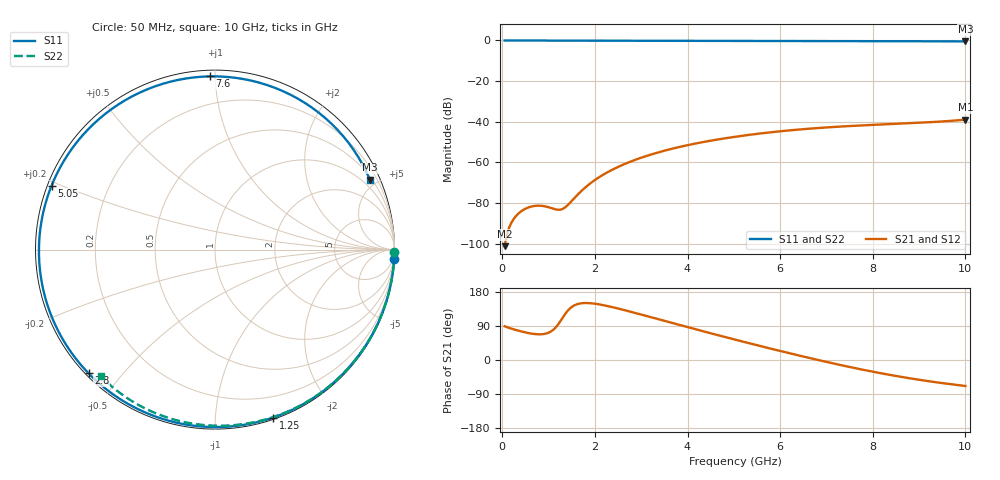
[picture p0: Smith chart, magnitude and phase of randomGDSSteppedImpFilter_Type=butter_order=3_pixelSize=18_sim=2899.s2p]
! freq	dB(S11)	phase(S11)	dB(S12)	phase(S12)
!  dB(S21)	phase(S21)	dB(S22)	phase(S22)
!S-par simulation data
#  GHz  S  DB  R 50
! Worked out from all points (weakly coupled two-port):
!   200 points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, 50 MHz to 10 GHz, reference 50 ohm
!   highest |S21| = -38.96 dB at 10 GHz (marker M1); lowest = -101.2 dB at 50 MHz (marker M2)
!   lowest |S11| = -0.5 dB at 10 GHz (marker M3), VSWR 36.42, Z = 30.5 + j228 ohm
!   |S11| at or under -10 dB: nowhere
!   |S22| runs from -0.4 to 0.0 dB; largest |S21 - S12| = 0
!   S11 on the Smith chart (normalised r, x): 50 MHz: 0, -37; 1.25 GHz: 0.01, -1.40; 2.8 GHz: 0.01, -0.41; 5.05 GHz: 0.01, +0.19; 7.6 GHz: 0.03, +0.97; 10 GHz: 0.61, +4.57
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0.05  -0.00 -3.1  -101.17 89.1  -101.17 89.1  -0.00 -0.8
0.35  -0.03 -21.1  -85.09 77.3  -85.09 77.3  -0.01 -5.3
0.7  -0.05 -41.4  -81.38 68.5  -81.38 68.5  -0.01 -10.6
1  -0.07 -57.9  -82.02 72.1  -82.02 72.1  -0.02 -15.1
1.25  -0.08 -70.9  -83.24 101.7  -83.24 101.7  -0.02 -18.9
1.45  -0.09 -80.7  -80.12 134.9  -80.12 134.9  -0.03 -21.9
1.75  -0.10 -94.6  -73.14 150.2  -73.14 150.2  -0.03 -26.3
1.95  -0.11 -103.3  -69.45 149.3  -69.45 149.3  -0.04 -29.3
2.2  -0.11 -113.5  -65.73 144.3  -65.73 144.3  -0.04 -32.9
2.8  -0.13 -135.6  -59.31 126.4  -59.31 126.4  -0.05 -41.6
3.4  -0.14 -155.1  -54.84 106.6  -54.84 106.6  -0.07 -50.1
3.8  -0.15 -167.1  -52.52 93.4  -52.52 93.4  -0.08 -55.6
4.2  -0.16 -178.5  -50.57 80.2  -50.57 80.2  -0.09 -61.1
5.05  -0.19 158.6  -47.30 53.0  -47.30 53.0  -0.11 -72.5
5.85  -0.23 137.8  -45.03 28.4  -45.03 28.4  -0.14 -82.8
6.7  -0.26 115.6  -43.27 3.4  -43.27 3.4  -0.18 -93.4
7.15  -0.28 103.7  -42.56 -9.2  -42.56 -9.2  -0.21 -98.9
7.6  -0.30 91.7  -41.97 -21.0  -41.97 -21.0  -0.23 -104.3
8.35  -0.34 71.1  -41.17 -38.9  -41.17 -38.9  -0.29 -113.1
9.1  -0.39 49.9  -40.37 -54.0  -40.37 -54.0  -0.35 -121.7
9.55  -0.43 37.1  -39.76 -61.8  -39.76 -61.8  -0.40 -126.8
10  -0.48 24.3  -38.96 -68.5  -38.96 -68.5  -0.45 -131.9
